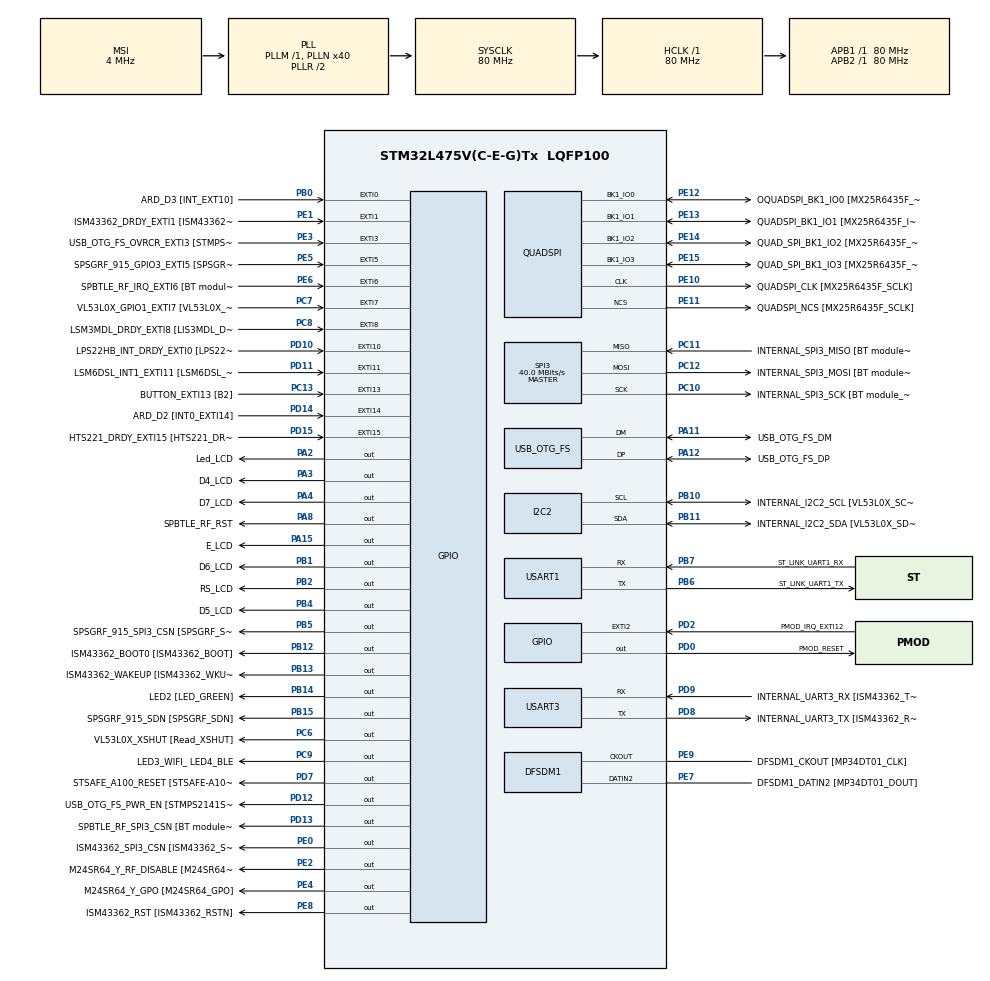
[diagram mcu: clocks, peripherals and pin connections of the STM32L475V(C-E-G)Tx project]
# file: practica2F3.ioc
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Mcu.Family=STM32L4
Mcu.Name=STM32L475V(C-E-G)Tx
Mcu.Package=LQFP100
NVIC.EXTI15_10_IRQn=true\:0\:0\:false\:false\:true\:true\:true\:true
NVIC.EXTI9_5_IRQn=true\:0\:0\:false\:false\:true\:true\:true\:true
NVIC.PriorityGroup=NVIC_PRIORITYGROUP_4
PA0.GPIO_Label=ARD_D1 [UART4_TX]
PA0.Signal=UART4_TX
PA1.GPIO_Label=ARD_D0 [UART4_RX]
PA1.Signal=UART4_RX
PA10.GPIO_Label=USB_OTG_FS_ID
PA10.Signal=USB_OTG_FS_ID
PA11.GPIO_Label=USB_OTG_FS_DM
PA11.Mode=Device_Only
PA11.Signal=USB_OTG_FS_DM
PA12.GPIO_Label=USB_OTG_FS_DP
PA12.Mode=Device_Only
PA12.Signal=USB_OTG_FS_DP
PA13\ (JTMS-SWDIO).GPIO_Label=SYS_JTMS_SWDIO
PA13\ (JTMS-SWDIO).Mode=Serial_Wire
PA13\ (JTMS-SWDIO).Signal=SYS_JTMS-SWDIO
PA14\ (JTCK-SWCLK).GPIO_Label=SYS_JTCK_SWCLK
PA14\ (JTCK-SWCLK).Mode=Serial_Wire
PA14\ (JTCK-SWCLK).Signal=SYS_JTCK-SWCLK
PA15\ (JTDI).GPIO_Label=E_LCD
PA15\ (JTDI).Signal=GPIO_Output
PA2.GPIO_Label=Led_LCD
PA2.Signal=GPIO_Output
PA3.GPIO_Label=D4_LCD
PA3.Signal=GPIO_Output
PA4.GPIO_Label=D7_LCD
PA4.Signal=GPIO_Output
PA5.GPIO_Label=ARD_D13 [SPI1_SCK]
PA5.Signal=SPI1_SCK
PA6.GPIO_Label=ARD_D12 [SPI1_MISO]
PA6.Signal=SPI1_MISO
PA7.GPIO_Label=ARD_D11 [SPI1_MOSI]
PA7.Signal=SPI1_MOSI
PA8.GPIO_Label=SPBTLE_RF_RST
PA8.Signal=GPIO_Output
PA9.GPIO_Label=USB_OTG_FS_VBUS [STMPS2141STR_OUT]
PA9.Signal=USB_OTG_FS_VBUS
PB0.GPIO_Label=ARD_D3 [INT_EXT10]
PB0.Signal=GPXTI0
PB1.GPIO_Label=D6_LCD
PB1.Signal=GPIO_Output
PB10.GPIO_Label=INTERNAL_I2C2_SCL [VL53L0X_SCL]
PB10.GPIO_Pu=GPIO_PULLUP
PB10.Mode=I2C
PB10.Signal=I2C2_SCL
PB11.GPIO_Label=INTERNAL_I2C2_SDA [VL53L0X_SDA]
PB11.GPIO_Pu=GPIO_PULLUP
PB11.Mode=I2C
PB11.Signal=I2C2_SDA
PB12.GPIO_Label=ISM43362_BOOT0 [ISM43362_BOOT]
PB12.Signal=GPIO_Output
PB13.GPIO_Label=ISM43362_WAKEUP [ISM43362_WKUP]
PB13.Signal=GPIO_Output
PB14.GPIO_Label=LED2 [LED_GREEN]
PB14.Signal=GPIO_Output
PB15.GPIO_Label=SPSGRF_915_SDN [SPSGRF_SDN]
PB15.Signal=GPIO_Output
PB2.GPIO_Label=RS_LCD
PB2.Signal=GPIO_Output
PB3\ (JTDO-TRACESWO).GPIO_Label=SYS_JTD0_SWO
PB3\ (JTDO-TRACESWO).Signal=SYS_JTDO-SWO
PB4\ (NJTRST).GPIO_Label=D5_LCD
PB4\ (NJTRST).Signal=GPIO_Output
PB5.GPIO_Label=SPSGRF_915_SPI3_CSN [SPSGRF_SPI_CS]
PB5.PinState=GPIO_PIN_SET
PB5.Signal=GPIO_Output
PB6.GPIO_Label=ST_LINK_UART1_TX
PB6.Mode=Asynchronous
PB6.Signal=USART1_TX
PB7.GPIO_Label=ST_LINK_UART1_RX
PB7.Mode=Asynchronous
PB7.Signal=USART1_RX
PB8.GPIO_Label=ARD_D15 [I2C1_SCL]
PB8.Signal=I2C1_SCL
PB9.GPIO_Label=ARD_D14 [I2C1_SDA]
PB9.Signal=I2C1_SDA
PC0.GPIO_Label=ARD_A5 [ADC]
PC0.Signal=ADCx_IN1
PC1.GPIO_Label=ARD_A4 [ADC]
PC1.Signal=ADCx_IN2
PC10.GPIO_Label=INTERNAL_SPI3_SCK [BT module_SPI_SCLK] [ISM43362_SCK]
PC10.Mode=Full_Duplex_Master
PC10.Signal=SPI3_SCK
PC11.GPIO_Label=INTERNAL_SPI3_MISO [BT module_SPI_MISO] [ISM43362_MISO]
PC11.Mode=Full_Duplex_Master
PC11.Signal=SPI3_MISO
PC12.GPIO_Label=INTERNAL_SPI3_MOSI [BT module_SPI_MOSI] [ISM43362_MOSI]
PC12.Mode=Full_Duplex_Master
PC12.Signal=SPI3_MOSI
PC13.GPIO_Label=BUTTON_EXTI13 [B2]
PC13.GPIO_ModeDefaultEXTI=GPIO_MODE_IT_FALLING
PC13.Signal=GPXTI13
PC14-OSC32_IN\ (PC14).Mode=LSE-External-Oscillator
PC14-OSC32_IN\ (PC14).Signal=RCC_OSC32_IN
PC15-OSC32_OUT\ (PC15).Mode=LSE-External-Oscillator
PC15-OSC32_OUT\ (PC15).Signal=RCC_OSC32_OUT
PC2.GPIO_Label=ARD_A3 [ADC]
PC2.Signal=ADCx_IN3
PC3.GPIO_Label=ARD_A2 [ADC]
PC3.Signal=ADCx_IN4
PC4.GPIO_Label=ARD_A1 [ADC]
PC4.Signal=ADCx_IN13
PC5.GPIO_Label=ARD_A0 [ADC]
PC5.Signal=ADCx_IN14
PC6.GPIO_Label=VL53L0X_XSHUT [Read_XSHUT]
PC6.Signal=GPIO_Output
PC7.GPIO_Label=VL53L0X_GPIO1_EXTI7 [VL53L0X_GPIO1]
PC7.Signal=GPXTI7
PC8.GPIO_Label=LSM3MDL_DRDY_EXTI8 [LIS3MDL_DRDY]
PC8.Signal=GPXTI8
PC9.GPIO_Label=LED3_WIFI_ LED4_BLE
PC9.Signal=GPIO_Output
PD0.GPIO_Label=PMOD_RESET
PD0.Signal=GPIO_Output
PD1.GPIO_Label=PMOD_SPI2_SCK
PD1.Signal=SPI2_SCK
PD10.GPIO_Label=LPS22HB_INT_DRDY_EXTI0 [LPS22HB_INT_DRDY] 
PD10.Signal=GPXTI10
PD11.GPIO_Label=LSM6DSL_INT1_EXTI11 [LSM6DSL_INT1]
PD11.Signal=GPXTI11
PD12.GPIO_Label=USB_OTG_FS_PWR_EN [STMPS2141STR_EN]
PD12.Signal=GPIO_Output
PD13.GPIO_Label=SPBTLE_RF_SPI3_CSN [BT module_SPI_CS]
PD13.PinState=GPIO_PIN_SET
PD13.Signal=GPIO_Output
PD14.GPIO_Label=ARD_D2 [INT0_EXTI14]
PD14.Signal=GPXTI14
PD15.GPIO_Label=HTS221_DRDY_EXTI15 [HTS221_DRDY]
PD15.Signal=GPXTI15
PD2.GPIO_Label=PMOD_IRQ_EXTI12
PD2.Signal=GPXTI2
PD3.GPIO_Label=PMOD_UART2_CTS
PD3.Signal=USART2_CTS
PD4.GPIO_Label=PMOD_UART2_RTS
PD4.Signal=USART2_RTS
PD5.GPIO_Label=PMOD_UART2_TX
PD5.Signal=USART2_TX
PD6.GPIO_Label=PMOD_UART2_RX
PD6.Signal=USART2_RX
PD7.GPIO_Label=STSAFE_A100_RESET [STSAFE-A100_RESET]
PD7.Signal=GPIO_Output
PD8.GPIO_Label=INTERNAL_UART3_TX [ISM43362_RX]
PD8.Mode=Asynchronous
PD8.Signal=USART3_TX
PD9.GPIO_Label=INTERNAL_UART3_RX [ISM43362_TX]
PD9.Mode=Asynchronous
PD9.Signal=USART3_RX
PE0.GPIO_Label=ISM43362_SPI3_CSN [ISM43362_SSN]
PE0.PinState=GPIO_PIN_SET
PE0.Signal=GPIO_Output
PE1.GPIO_Label=ISM43362_DRDY_EXTI1 [ISM43362_DATARDY]
PE1.Signal=GPXTI1
PE10.GPIO_Label=QUADSPI_CLK [MX25R6435F_SCLK]
PE10.Mode=Single Bank
PE10.Signal=QUADSPI_CLK
PE11.GPIO_Label=QUADSPI_NCS [MX25R6435F_SCLK]
PE11.Mode=Single Bank
PE11.Signal=QUADSPI_NCS
PE12.GPIO_Label=OQUADSPI_BK1_IO0 [MX25R6435F_IO0]
PE12.Mode=Single Bank
PE12.Signal=QUADSPI_BK1_IO0
PE13.GPIO_Label=QUADSPI_BK1_IO1 [MX25R6435F_IO1]
PE13.Mode=Single Bank
PE13.Signal=QUADSPI_BK1_IO1
PE14.GPIO_Label=QUAD_SPI_BK1_IO2 [MX25R6435F_IO2]
PE14.Mode=Single Bank
PE14.Signal=QUADSPI_BK1_IO2
PE15.GPIO_Label=QUAD_SPI_BK1_IO3 [MX25R6435F_IO3]
PE15.Mode=Single Bank
PE15.Signal=QUADSPI_BK1_IO3
PE2.GPIO_Label=M24SR64_Y_RF_DISABLE [M24SR64_RFDIS]
PE2.Signal=GPIO_Output
PE3.GPIO_Label=USB_OTG_FS_OVRCR_EXTI3 [STMPS2141STR_FAULT]
PE3.Signal=GPXTI3
PE4.GPIO_Label=M24SR64_Y_GPO [M24SR64_GPO]
PE4.Signal=GPIO_Output
PE5.GPIO_Label=SPSGRF_915_GPIO3_EXTI5 [SPSGRF_GPIO_3]
PE5.Signal=GPXTI5
PE6.GPIO_Label=SPBTLE_RF_IRQ_EXTI6 [BT module_SPI_IRQ]
PE6.Signal=GPXTI6
PE7.GPIO_Label=DFSDM1_DATIN2 [MP34DT01_DOUT]
PE7.Signal=S_DATAIN2DFSDM1
PE8.GPIO_Label=ISM43362_RST [ISM43362_RSTN]
PE8.Signal=GPIO_Output
PE9.GPIO_Label=DFSDM1_CKOUT [MP34DT01_CLK]
PE9.Signal=S_CKOUTDFSDM1
ProjectManager.HeapSize=0x200
ProjectManager.StackSize=0x400
ProjectManager.TargetToolchain=STM32CubeIDE
QUADSPI.ClockPrescaler=2
QUADSPI.FifoThreshold=4
QUADSPI.FlashSize=23
QUADSPI.SampleShifting=QSPI_SAMPLE_SHIFTING_HALFCYCLE
RCC.ADCFreq_Value=48000000
RCC.AHBFreq_Value=80000000
RCC.APB1Freq_Value=80000000
RCC.APB1TimFreq_Value=80000000
RCC.APB2Freq_Value=80000000
RCC.APB2TimFreq_Value=80000000
RCC.CortexFreq_Value=80000000
RCC.HCLKFreq_Value=80000000
RCC.HSE_VALUE=8000000
RCC.HSI_VALUE=16000000
RCC.MSI_VALUE=4000000
RCC.PLLN=40
RCC.PLLSAI1N=24
RCC.SYSCLKFreq_VALUE=80000000
RCC.SYSCLKSource=RCC_SYSCLKSOURCE_PLLCLK
RCC.USBFreq_Value=48000000
RCC.VCOOutputFreq_Value=160000000
SH.ADCx_IN1.0=ADC1_IN1
SH.ADCx_IN13.0=ADC1_IN13
SH.ADCx_IN14.0=ADC1_IN14
SH.ADCx_IN2.0=ADC1_IN2
SH.ADCx_IN3.0=ADC1_IN3
SH.ADCx_IN4.0=ADC1_IN4
SH.S_CKOUTDFSDM1.0=DFSDM1_CKOUT,CKOUT
SH.S_CKOUTDFSDM1.1=DFSDM1_CKOUT,PDM_SPI_Input_from_ch12_and_Internal_Clock
SH.S_DATAIN2DFSDM1.0=DFSDM1_DATIN2,PDM_SPI_Input_from_ch12_and_Internal_Clock
SPI3.CalculateBaudRate=40.0 MBits/s
SPI3.Direction=SPI_DIRECTION_2LINES
SPI3.Mode=SPI_MODE_MASTER
SPI3.VirtualType=VM_MASTER
USART1.VirtualMode-Asynchronous=VM_ASYNC
USART3.VirtualMode-Asynchronous=VM_ASYNC
USB_OTG_FS.VirtualMode=Device_Only
board=B-L475E-IOT01A1

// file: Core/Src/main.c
/* USER CODE BEGIN Header */
/**
  ******************************************************************************
  * @file           : main.c
  * @brief          : Main program body
  ******************************************************************************
  * @attention
  *
  * Copyright (c) 2025 STMicroelectronics.
  * All rights reserved.
  *
  * This software is licensed under terms that can be found in the LICENSE file
  * in the root directory of this software component.
  * If no LICENSE file comes with this software, it is provided AS-IS.
  *
  ******************************************************************************
  */
/* USER CODE END Header */
#include "main.h"
#include "hd44780.h"

DFSDM_Channel_HandleTypeDef hdfsdm1_channel1;

I2C_HandleTypeDef hi2c2;

QSPI_HandleTypeDef hqspi;

SPI_HandleTypeDef hspi3;

UART_HandleTypeDef huart1;
UART_HandleTypeDef huart3;

PCD_HandleTypeDef hpcd_USB_OTG_FS;

void SystemClock_Config(void);
static void MX_GPIO_Init(void);
static void MX_DFSDM1_Init(void);
static void MX_I2C2_Init(void);
static void MX_QUADSPI_Init(void);
static void MX_SPI3_Init(void);
static void MX_USART1_UART_Init(void);
static void MX_USART3_UART_Init(void);
static void MX_USB_OTG_FS_PCD_Init(void);

int main(void)
{

  /* MCU Configuration--------------------------------------------------------*/

  /* Reset of all peripherals, Initializes the Flash interface and the Systick. */
  HAL_Init();

  /* Configure the system clock */
  SystemClock_Config();

  /* Initialize all configured peripherals */
  MX_GPIO_Init();
  MX_DFSDM1_Init();
  MX_I2C2_Init();
  MX_QUADSPI_Init();
  MX_SPI3_Init();
  MX_USART1_UART_Init();
  MX_USART3_UART_Init();
  MX_USB_OTG_FS_PCD_Init();
  /* USER CODE BEGIN 2 */
  HAL_GPIO_WritePin(GPIOA, Led_LCD_Pin, GPIO_PIN_SET);
  lcd_reset();
  lcd_display_settings(1,0,0);
  lcd_clear();

  	lcd_cgram_address(0); // se selecciona la dirección 0 de la CGRAM, patrón con código 0
  	lcd_write(0x15, 1); //se va cargando con los bytes del patrón de cada fila de la CGRAM
  	lcd_write(0x15, 1);
  	lcd_write(0xe, 1);
  	lcd_write(0x4, 1);
  	lcd_write(0x4, 1);
  	lcd_write(0xa, 1);
  	lcd_write(0x11, 1);
  	lcd_write(0x00, 1);

  	lcd_cgram_address(8); //se selecciona la dirección 8 de la CGRAM, patrón con código 1
  	lcd_write(0x4, 1); // se va cargando con los bytes del patrón de cada fila de la CGRAM
  	lcd_write(0x4, 1);
  	lcd_write(0xe, 1);
  	lcd_write(0x15, 1);
  	lcd_write(0x15, 1);
  	lcd_write(0xa, 1);
  	lcd_write(0xa, 1);
  	lcd_write(0x00, 1);

    lcd_display_address(0);
  /* USER CODE END 2 */

  /* Infinite loop */
  while (1)
  {

    /* USER CODE BEGIN 3 */
	  moveToXY(1, 7);
	  lcd_write(0, 1);
	  moveToXY(1, 8);
	  lcd_write(0, 1);
	  HAL_Delay(300);
	  moveToXY(1, 7);
	  lcd_write(1, 1);
	  moveToXY(1, 8);
	  lcd_write(1, 1);
	  HAL_Delay(300);

  }
  /* USER CODE END 3 */
}

void SystemClock_Config(void)
{
  RCC_OscInitTypeDef RCC_OscInitStruct = {0};
  RCC_ClkInitTypeDef RCC_ClkInitStruct = {0};

  /** Configure the main internal regulator output voltage
  */
  if (HAL_PWREx_ControlVoltageScaling(PWR_REGULATOR_VOLTAGE_SCALE1) != HAL_OK)
  {
    Error_Handler();
  }

  /** Configure LSE Drive Capability
  */
  HAL_PWR_EnableBkUpAccess();
  __HAL_RCC_LSEDRIVE_CONFIG(RCC_LSEDRIVE_LOW);

  /** Initializes the RCC Oscillators according to the specified parameters
  * in the RCC_OscInitTypeDef structure.
  */
  RCC_OscInitStruct.OscillatorType = RCC_OSCILLATORTYPE_LSE|RCC_OSCILLATORTYPE_MSI;
  RCC_OscInitStruct.LSEState = RCC_LSE_ON;
  RCC_OscInitStruct.MSIState = RCC_MSI_ON;
  RCC_OscInitStruct.MSICalibrationValue = 0;
  RCC_OscInitStruct.MSIClockRange = RCC_MSIRANGE_6;
  RCC_OscInitStruct.PLL.PLLState = RCC_PLL_ON;
  RCC_OscInitStruct.PLL.PLLSource = RCC_PLLSOURCE_MSI;
  RCC_OscInitStruct.PLL.PLLM = 1;
  RCC_OscInitStruct.PLL.PLLN = 40;
  RCC_OscInitStruct.PLL.PLLP = RCC_PLLP_DIV7;
  RCC_OscInitStruct.PLL.PLLQ = RCC_PLLQ_DIV2;
  RCC_OscInitStruct.PLL.PLLR = RCC_PLLR_DIV2;
  if (HAL_RCC_OscConfig(&RCC_OscInitStruct) != HAL_OK)
  {
    Error_Handler();
  }

  /** Initializes the CPU, AHB and APB buses clocks
  */
  RCC_ClkInitStruct.ClockType = RCC_CLOCKTYPE_HCLK|RCC_CLOCKTYPE_SYSCLK
                              |RCC_CLOCKTYPE_PCLK1|RCC_CLOCKTYPE_PCLK2;
  RCC_ClkInitStruct.SYSCLKSource = RCC_SYSCLKSOURCE_PLLCLK;
  RCC_ClkInitStruct.AHBCLKDivider = RCC_SYSCLK_DIV1;
  RCC_ClkInitStruct.APB1CLKDivider = RCC_HCLK_DIV1;
  RCC_ClkInitStruct.APB2CLKDivider = RCC_HCLK_DIV1;

  if (HAL_RCC_ClockConfig(&RCC_ClkInitStruct, FLASH_LATENCY_4) != HAL_OK)
  {
    Error_Handler();
  }

  /** Enable MSI Auto calibration
  */
  HAL_RCCEx_EnableMSIPLLMode();
}

static void MX_DFSDM1_Init(void)
{

  hdfsdm1_channel1.Instance = DFSDM1_Channel1;
  hdfsdm1_channel1.Init.OutputClock.Activation = ENABLE;
  hdfsdm1_channel1.Init.OutputClock.Selection = DFSDM_CHANNEL_OUTPUT_CLOCK_SYSTEM;
  hdfsdm1_channel1.Init.OutputClock.Divider = 2;
  hdfsdm1_channel1.Init.Input.Multiplexer = DFSDM_CHANNEL_EXTERNAL_INPUTS;
  hdfsdm1_channel1.Init.Input.DataPacking = DFSDM_CHANNEL_STANDARD_MODE;
  hdfsdm1_channel1.Init.Input.Pins = DFSDM_CHANNEL_FOLLOWING_CHANNEL_PINS;
  hdfsdm1_channel1.Init.SerialInterface.Type = DFSDM_CHANNEL_SPI_RISING;
  hdfsdm1_channel1.Init.SerialInterface.SpiClock = DFSDM_CHANNEL_SPI_CLOCK_INTERNAL;
  hdfsdm1_channel1.Init.Awd.FilterOrder = DFSDM_CHANNEL_FASTSINC_ORDER;
  hdfsdm1_channel1.Init.Awd.Oversampling = 1;
  hdfsdm1_channel1.Init.Offset = 0;
  hdfsdm1_channel1.Init.RightBitShift = 0x00;
  if (HAL_DFSDM_ChannelInit(&hdfsdm1_channel1) != HAL_OK)
  {
    Error_Handler();
  }

}

static void MX_I2C2_Init(void)
{

  hi2c2.Instance = I2C2;
  hi2c2.Init.Timing = 0x00000E14;
  hi2c2.Init.OwnAddress1 = 0;
  hi2c2.Init.AddressingMode = I2C_ADDRESSINGMODE_7BIT;
  hi2c2.Init.DualAddressMode = I2C_DUALADDRESS_DISABLE;
  hi2c2.Init.OwnAddress2 = 0;
  hi2c2.Init.OwnAddress2Masks = I2C_OA2_NOMASK;
  hi2c2.Init.GeneralCallMode = I2C_GENERALCALL_DISABLE;
  hi2c2.Init.NoStretchMode = I2C_NOSTRETCH_DISABLE;
  if (HAL_I2C_Init(&hi2c2) != HAL_OK)
  {
    Error_Handler();
  }

  /** Configure Analogue filter
  */
  if (HAL_I2CEx_ConfigAnalogFilter(&hi2c2, I2C_ANALOGFILTER_ENABLE) != HAL_OK)
  {
    Error_Handler();
  }

  /** Configure Digital filter
  */
  if (HAL_I2CEx_ConfigDigitalFilter(&hi2c2, 0) != HAL_OK)
  {
    Error_Handler();
  }

}

static void MX_QUADSPI_Init(void)
{

  /* QUADSPI parameter configuration*/
  hqspi.Instance = QUADSPI;
  hqspi.Init.ClockPrescaler = 2;
  hqspi.Init.FifoThreshold = 4;
  hqspi.Init.SampleShifting = QSPI_SAMPLE_SHIFTING_HALFCYCLE;
  hqspi.Init.FlashSize = 23;
  hqspi.Init.ChipSelectHighTime = QSPI_CS_HIGH_TIME_1_CYCLE;
  hqspi.Init.ClockMode = QSPI_CLOCK_MODE_0;
  if (HAL_QSPI_Init(&hqspi) != HAL_OK)
  {
    Error_Handler();
  }

}

static void MX_SPI3_Init(void)
{

  /* SPI3 parameter configuration*/
  hspi3.Instance = SPI3;
  hspi3.Init.Mode = SPI_MODE_MASTER;
  hspi3.Init.Direction = SPI_DIRECTION_2LINES;
  hspi3.Init.DataSize = SPI_DATASIZE_4BIT;
  hspi3.Init.CLKPolarity = SPI_POLARITY_LOW;
  hspi3.Init.CLKPhase = SPI_PHASE_1EDGE;
  hspi3.Init.NSS = SPI_NSS_SOFT;
  hspi3.Init.BaudRatePrescaler = SPI_BAUDRATEPRESCALER_2;
  hspi3.Init.FirstBit = SPI_FIRSTBIT_MSB;
  hspi3.Init.TIMode = SPI_TIMODE_DISABLE;
  hspi3.Init.CRCCalculation = SPI_CRCCALCULATION_DISABLE;
  hspi3.Init.CRCPolynomial = 7;
  hspi3.Init.CRCLength = SPI_CRC_LENGTH_DATASIZE;
  hspi3.Init.NSSPMode = SPI_NSS_PULSE_ENABLE;
  if (HAL_SPI_Init(&hspi3) != HAL_OK)
  {
    Error_Handler();
  }

}

static void MX_USART1_UART_Init(void)
{

  huart1.Instance = USART1;
  huart1.Init.BaudRate = 115200;
  huart1.Init.WordLength = UART_WORDLENGTH_8B;
  huart1.Init.StopBits = UART_STOPBITS_1;
  huart1.Init.Parity = UART_PARITY_NONE;
  huart1.Init.Mode = UART_MODE_TX_RX;
  huart1.Init.HwFlowCtl = UART_HWCONTROL_NONE;
  huart1.Init.OverSampling = UART_OVERSAMPLING_16;
  huart1.Init.OneBitSampling = UART_ONE_BIT_SAMPLE_DISABLE;
  huart1.AdvancedInit.AdvFeatureInit = UART_ADVFEATURE_NO_INIT;
  if (HAL_UART_Init(&huart1) != HAL_OK)
  {
    Error_Handler();
  }

}

static void MX_USART3_UART_Init(void)
{

  huart3.Instance = USART3;
  huart3.Init.BaudRate = 115200;
  huart3.Init.WordLength = UART_WORDLENGTH_8B;
  huart3.Init.StopBits = UART_STOPBITS_1;
  huart3.Init.Parity = UART_PARITY_NONE;
  huart3.Init.Mode = UART_MODE_TX_RX;
  huart3.Init.HwFlowCtl = UART_HWCONTROL_NONE;
  huart3.Init.OverSampling = UART_OVERSAMPLING_16;
  huart3.Init.OneBitSampling = UART_ONE_BIT_SAMPLE_DISABLE;
  huart3.AdvancedInit.AdvFeatureInit = UART_ADVFEATURE_NO_INIT;
  if (HAL_UART_Init(&huart3) != HAL_OK)
  {
    Error_Handler();
  }

}

static void MX_USB_OTG_FS_PCD_Init(void)
{

  hpcd_USB_OTG_FS.Instance = USB_OTG_FS;
  hpcd_USB_OTG_FS.Init.dev_endpoints = 6;
  hpcd_USB_OTG_FS.Init.speed = PCD_SPEED_FULL;
  hpcd_USB_OTG_FS.Init.phy_itface = PCD_PHY_EMBEDDED;
  hpcd_USB_OTG_FS.Init.Sof_enable = DISABLE;
  hpcd_USB_OTG_FS.Init.low_power_enable = DISABLE;
  hpcd_USB_OTG_FS.Init.lpm_enable = DISABLE;
  hpcd_USB_OTG_FS.Init.battery_charging_enable = DISABLE;
  hpcd_USB_OTG_FS.Init.use_dedicated_ep1 = DISABLE;
  hpcd_USB_OTG_FS.Init.vbus_sensing_enable = DISABLE;
  if (HAL_PCD_Init(&hpcd_USB_OTG_FS) != HAL_OK)
  {
    Error_Handler();
  }

}

static void MX_GPIO_Init(void)
{
  GPIO_InitTypeDef GPIO_InitStruct = {0};

  /* GPIO Ports Clock Enable */
  __HAL_RCC_GPIOE_CLK_ENABLE();
  __HAL_RCC_GPIOC_CLK_ENABLE();
  __HAL_RCC_GPIOA_CLK_ENABLE();
  __HAL_RCC_GPIOB_CLK_ENABLE();
  __HAL_RCC_GPIOD_CLK_ENABLE();

  /*Configure GPIO pin Output Level */
  HAL_GPIO_WritePin(GPIOE, M24SR64_Y_RF_DISABLE_Pin|M24SR64_Y_GPO_Pin|ISM43362_RST_Pin, GPIO_PIN_RESET);

  /*Configure GPIO pin Output Level */
  HAL_GPIO_WritePin(GPIOA, Led_LCD_Pin|D4_LCD_Pin|D7_LCD_Pin|SPBTLE_RF_RST_Pin
                          |E_LCD_Pin, GPIO_PIN_RESET);

  /*Configure GPIO pin Output Level */
  HAL_GPIO_WritePin(GPIOB, D6_LCD_Pin|RS_LCD_Pin|ISM43362_BOOT0_Pin|ISM43362_WAKEUP_Pin
                          |LED2_Pin|SPSGRF_915_SDN_Pin|D5_LCD_Pin, GPIO_PIN_RESET);

  /*Configure GPIO pin Output Level */
  HAL_GPIO_WritePin(GPIOD, USB_OTG_FS_PWR_EN_Pin|PMOD_RESET_Pin|STSAFE_A100_RESET_Pin, GPIO_PIN_RESET);

  /*Configure GPIO pin Output Level */
  HAL_GPIO_WritePin(SPBTLE_RF_SPI3_CSN_GPIO_Port, SPBTLE_RF_SPI3_CSN_Pin, GPIO_PIN_SET);

  /*Configure GPIO pin Output Level */
  HAL_GPIO_WritePin(GPIOC, VL53L0X_XSHUT_Pin|LED3_WIFI__LED4_BLE_Pin, GPIO_PIN_RESET);

  /*Configure GPIO pin Output Level */
  HAL_GPIO_WritePin(SPSGRF_915_SPI3_CSN_GPIO_Port, SPSGRF_915_SPI3_CSN_Pin, GPIO_PIN_SET);

  /*Configure GPIO pin Output Level */
  HAL_GPIO_WritePin(ISM43362_SPI3_CSN_GPIO_Port, ISM43362_SPI3_CSN_Pin, GPIO_PIN_SET);

  /*Configure GPIO pins : M24SR64_Y_RF_DISABLE_Pin M24SR64_Y_GPO_Pin ISM43362_RST_Pin ISM43362_SPI3_CSN_Pin */
  GPIO_InitStruct.Pin = M24SR64_Y_RF_DISABLE_Pin|M24SR64_Y_GPO_Pin|ISM43362_RST_Pin|ISM43362_SPI3_CSN_Pin;
  GPIO_InitStruct.Mode = GPIO_MODE_OUTPUT_PP;
  GPIO_InitStruct.Pull = GPIO_NOPULL;
  GPIO_InitStruct.Speed = GPIO_SPEED_FREQ_LOW;
  HAL_GPIO_Init(GPIOE, &GPIO_InitStruct);

  /*Configure GPIO pins : USB_OTG_FS_OVRCR_EXTI3_Pin SPSGRF_915_GPIO3_EXTI5_Pin SPBTLE_RF_IRQ_EXTI6_Pin ISM43362_DRDY_EXTI1_Pin */
  GPIO_InitStruct.Pin = USB_OTG_FS_OVRCR_EXTI3_Pin|SPSGRF_915_GPIO3_EXTI5_Pin|SPBTLE_RF_IRQ_EXTI6_Pin|ISM43362_DRDY_EXTI1_Pin;
  GPIO_InitStruct.Mode = GPIO_MODE_IT_RISING;
  GPIO_InitStruct.Pull = GPIO_NOPULL;
  HAL_GPIO_Init(GPIOE, &GPIO_InitStruct);

  /*Configure GPIO pin : BUTTON_EXTI13_Pin */
  GPIO_InitStruct.Pin = BUTTON_EXTI13_Pin;
  GPIO_InitStruct.Mode = GPIO_MODE_IT_FALLING;
  GPIO_InitStruct.Pull = GPIO_NOPULL;
  HAL_GPIO_Init(BUTTON_EXTI13_GPIO_Port, &GPIO_InitStruct);

  /*Configure GPIO pins : ARD_A5_Pin ARD_A4_Pin ARD_A3_Pin ARD_A2_Pin
                           ARD_A1_Pin ARD_A0_Pin */
  GPIO_InitStruct.Pin = ARD_A5_Pin|ARD_A4_Pin|ARD_A3_Pin|ARD_A2_Pin
                          |ARD_A1_Pin|ARD_A0_Pin;
  GPIO_InitStruct.Mode = GPIO_MODE_ANALOG_ADC_CONTROL;
  GPIO_InitStruct.Pull = GPIO_NOPULL;
  HAL_GPIO_Init(GPIOC, &GPIO_InitStruct);

  /*Configure GPIO pins : ARD_D1_Pin ARD_D0_Pin */
  GPIO_InitStruct.Pin = ARD_D1_Pin|ARD_D0_Pin;
  GPIO_InitStruct.Mode = GPIO_MODE_AF_PP;
  GPIO_InitStruct.Pull = GPIO_NOPULL;
  GPIO_InitStruct.Speed = GPIO_SPEED_FREQ_VERY_HIGH;
  GPIO_InitStruct.Alternate = GPIO_AF8_UART4;
  HAL_GPIO_Init(GPIOA, &GPIO_InitStruct);

  /*Configure GPIO pins : Led_LCD_Pin D4_LCD_Pin D7_LCD_Pin SPBTLE_RF_RST_Pin
                           E_LCD_Pin */
  GPIO_InitStruct.Pin = Led_LCD_Pin|D4_LCD_Pin|D7_LCD_Pin|SPBTLE_RF_RST_Pin
                          |E_LCD_Pin;
  GPIO_InitStruct.Mode = GPIO_MODE_OUTPUT_PP;
  GPIO_InitStruct.Pull = GPIO_NOPULL;
  GPIO_InitStruct.Speed = GPIO_SPEED_FREQ_LOW;
  HAL_GPIO_Init(GPIOA, &GPIO_InitStruct);

  /*Configure GPIO pins : ARD_D13_Pin ARD_D12_Pin ARD_D11_Pin */
  GPIO_InitStruct.Pin = ARD_D13_Pin|ARD_D12_Pin|ARD_D11_Pin;
  GPIO_InitStruct.Mode = GPIO_MODE_AF_PP;
  GPIO_InitStruct.Pull = GPIO_NOPULL;
  GPIO_InitStruct.Speed = GPIO_SPEED_FREQ_VERY_HIGH;
  GPIO_InitStruct.Alternate = GPIO_AF5_SPI1;
  HAL_GPIO_Init(GPIOA, &GPIO_InitStruct);

  /*Configure GPIO pin : ARD_D3_Pin */
  GPIO_InitStruct.Pin = ARD_D3_Pin;
  GPIO_InitStruct.Mode = GPIO_MODE_IT_RISING;
  GPIO_InitStruct.Pull = GPIO_NOPULL;
  HAL_GPIO_Init(ARD_D3_GPIO_Port, &GPIO_InitStruct);

  /*Configure GPIO pins : D6_LCD_Pin RS_LCD_Pin ISM43362_BOOT0_Pin ISM43362_WAKEUP_Pin
                           LED2_Pin SPSGRF_915_SDN_Pin D5_LCD_Pin SPSGRF_915_SPI3_CSN_Pin */
  GPIO_InitStruct.Pin = D6_LCD_Pin|RS_LCD_Pin|ISM43362_BOOT0_Pin|ISM43362_WAKEUP_Pin
                          |LED2_Pin|SPSGRF_915_SDN_Pin|D5_LCD_Pin|SPSGRF_915_SPI3_CSN_Pin;
  GPIO_InitStruct.Mode = GPIO_MODE_OUTPUT_PP;
  GPIO_InitStruct.Pull = GPIO_NOPULL;
  GPIO_InitStruct.Speed = GPIO_SPEED_FREQ_LOW;
  HAL_GPIO_Init(GPIOB, &GPIO_InitStruct);

  /*Configure GPIO pins : LPS22HB_INT_DRDY_EXTI0_Pin LSM6DSL_INT1_EXTI11_Pin ARD_D2_Pin HTS221_DRDY_EXTI15_Pin
                           PMOD_IRQ_EXTI12_Pin */
  GPIO_InitStruct.Pin = LPS22HB_INT_DRDY_EXTI0_Pin|LSM6DSL_INT1_EXTI11_Pin|ARD_D2_Pin|HTS221_DRDY_EXTI15_Pin
                          |PMOD_IRQ_EXTI12_Pin;
  GPIO_InitStruct.Mode = GPIO_MODE_IT_RISING;
  GPIO_InitStruct.Pull = GPIO_NOPULL;
  HAL_GPIO_Init(GPIOD, &GPIO_InitStruct);

  /*Configure GPIO pins : USB_OTG_FS_PWR_EN_Pin SPBTLE_RF_SPI3_CSN_Pin PMOD_RESET_Pin STSAFE_A100_RESET_Pin */
  GPIO_InitStruct.Pin = USB_OTG_FS_PWR_EN_Pin|SPBTLE_RF_SPI3_CSN_Pin|PMOD_RESET_Pin|STSAFE_A100_RESET_Pin;
  GPIO_InitStruct.Mode = GPIO_MODE_OUTPUT_PP;
  GPIO_InitStruct.Pull = GPIO_NOPULL;
  GPIO_InitStruct.Speed = GPIO_SPEED_FREQ_LOW;
  HAL_GPIO_Init(GPIOD, &GPIO_InitStruct);

  /*Configure GPIO pins : VL53L0X_XSHUT_Pin LED3_WIFI__LED4_BLE_Pin */
  GPIO_InitStruct.Pin = VL53L0X_XSHUT_Pin|LED3_WIFI__LED4_BLE_Pin;
  GPIO_InitStruct.Mode = GPIO_MODE_OUTPUT_PP;
  GPIO_InitStruct.Pull = GPIO_NOPULL;
  GPIO_InitStruct.Speed = GPIO_SPEED_FREQ_LOW;
  HAL_GPIO_Init(GPIOC, &GPIO_InitStruct);

  /*Configure GPIO pins : VL53L0X_GPIO1_EXTI7_Pin LSM3MDL_DRDY_EXTI8_Pin */
  GPIO_InitStruct.Pin = VL53L0X_GPIO1_EXTI7_Pin|LSM3MDL_DRDY_EXTI8_Pin;
  GPIO_InitStruct.Mode = GPIO_MODE_IT_RISING;
  GPIO_InitStruct.Pull = GPIO_NOPULL;
  HAL_GPIO_Init(GPIOC, &GPIO_InitStruct);

  /*Configure GPIO pin : PMOD_SPI2_SCK_Pin */
  GPIO_InitStruct.Pin = PMOD_SPI2_SCK_Pin;
  GPIO_InitStruct.Mode = GPIO_MODE_AF_PP;
  GPIO_InitStruct.Pull = GPIO_NOPULL;
  GPIO_InitStruct.Speed = GPIO_SPEED_FREQ_VERY_HIGH;
  GPIO_InitStruct.Alternate = GPIO_AF5_SPI2;
  HAL_GPIO_Init(PMOD_SPI2_SCK_GPIO_Port, &GPIO_InitStruct);

  /*Configure GPIO pins : PMOD_UART2_CTS_Pin PMOD_UART2_RTS_Pin PMOD_UART2_TX_Pin PMOD_UART2_RX_Pin */
  GPIO_InitStruct.Pin = PMOD_UART2_CTS_Pin|PMOD_UART2_RTS_Pin|PMOD_UART2_TX_Pin|PMOD_UART2_RX_Pin;
  GPIO_InitStruct.Mode = GPIO_MODE_AF_PP;
  GPIO_InitStruct.Pull = GPIO_NOPULL;
  GPIO_InitStruct.Speed = GPIO_SPEED_FREQ_VERY_HIGH;
  GPIO_InitStruct.Alternate = GPIO_AF7_USART2;
  HAL_GPIO_Init(GPIOD, &GPIO_InitStruct);

  /*Configure GPIO pins : ARD_D15_Pin ARD_D14_Pin */
  GPIO_InitStruct.Pin = ARD_D15_Pin|ARD_D14_Pin;
  GPIO_InitStruct.Mode = GPIO_MODE_AF_OD;
  GPIO_InitStruct.Pull = GPIO_NOPULL;
  GPIO_InitStruct.Speed = GPIO_SPEED_FREQ_VERY_HIGH;
  GPIO_InitStruct.Alternate = GPIO_AF4_I2C1;
  HAL_GPIO_Init(GPIOB, &GPIO_InitStruct);

  /* EXTI interrupt init*/
  HAL_NVIC_SetPriority(EXTI9_5_IRQn, 0, 0);
  HAL_NVIC_EnableIRQ(EXTI9_5_IRQn);

  HAL_NVIC_SetPriority(EXTI15_10_IRQn, 0, 0);
  HAL_NVIC_EnableIRQ(EXTI15_10_IRQn);

}

void Error_Handler(void)
{
  __disable_irq();
  while (1)
  {
  }
}
